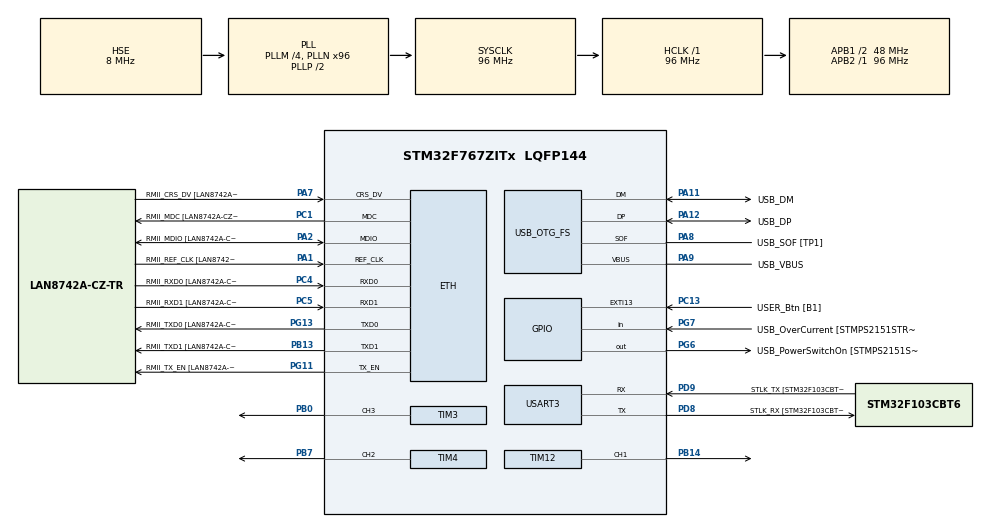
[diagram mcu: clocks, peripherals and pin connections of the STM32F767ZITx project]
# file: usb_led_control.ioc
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ETH.MediaInterface=HAL_ETH_RMII_MODE
ETH.PHY_Name=LAN8742A_PHY_ADDRESS
ETH.PHY_Value=0
ETH.PhyAddress=0
FREERTOS.Queues01=commandQueue,16,32,1,Dynamic,NULL,NULL
FREERTOS.Tasks01=defaultTask,24,128,StartDefaultTask,Default,NULL,Dynamic,NULL,NULL;commandReader,8,128,commandReaderEntry,Default,NULL,Dynamic,NULL,NULL
FREERTOS.Timers01=ledBlinkTimer,ledBlinkTimerEntry,osTimerPeriodic,Default,NULL,Dynamic,NULL
FREERTOS.configUSE_NEWLIB_REENTRANT=1
Mcu.Family=STM32F7
Mcu.Name=STM32F767ZITx
Mcu.Package=LQFP144
NVIC.OTG_FS_IRQn=true\:5\:0\:false\:false\:true\:true\:false\:true\:true
NVIC.PriorityGroup=NVIC_PRIORITYGROUP_4
NVIC.TIM6_DAC_IRQn=true\:15\:0\:false\:false\:true\:false\:false\:true\:true
NVIC.TimeBase=TIM6_DAC_IRQn
NVIC.TimeBaseIP=TIM6
PA1.GPIO_Label=RMII_REF_CLK [LAN8742A-CZ-TR_REFCLK0]
PA1.Mode=RMII
PA1.Signal=ETH_REF_CLK
PA10.GPIO_Label=USB_ID
PA10.Signal=USB_OTG_FS_ID
PA11.GPIO_Label=USB_DM
PA11.Mode=Device_Only
PA11.Signal=USB_OTG_FS_DM
PA12.GPIO_Label=USB_DP
PA12.Mode=Device_Only
PA12.Signal=USB_OTG_FS_DP
PA13.GPIO_Label=TMS
PA13.Mode=Serial_Wire
PA13.Signal=SYS_JTMS-SWDIO
PA14.GPIO_Label=TCK
PA14.Mode=Serial_Wire
PA14.Signal=SYS_JTCK-SWCLK
PA2.GPIO_Label=RMII_MDIO [LAN8742A-CZ-TR_MDIO]
PA2.Mode=RMII
PA2.Signal=ETH_MDIO
PA7.GPIO_Label=RMII_CRS_DV [LAN8742A-CZ-TR_CRS_DV]
PA7.Mode=RMII
PA7.Signal=ETH_CRS_DV
PA8.GPIO_Label=USB_SOF [TP1]
PA8.Mode=Activate_SOF_FS
PA8.Signal=USB_OTG_FS_SOF
PA9.GPIO_Label=USB_VBUS
PA9.Mode=Activate_VBUS
PA9.Signal=USB_OTG_FS_VBUS
PB0.Signal=S_TIM3_CH3
PB13.GPIO_Label=RMII_TXD1 [LAN8742A-CZ-TR_TXD1]
PB13.Mode=RMII
PB13.Signal=ETH_TXD1
PB14.Signal=S_TIM12_CH1
PB3.GPIO_Label=SWO
PB3.Signal=SYS_JTDO-SWO
PB7.Signal=S_TIM4_CH2
PC1.GPIO_Label=RMII_MDC [LAN8742A-CZ-TR_MDC]
PC1.Mode=RMII
PC1.Signal=ETH_MDC
PC13.GPIO_Label=USER_Btn [B1]
PC13.Signal=GPXTI13
PC14/OSC32_IN.Mode=LSE-External-Oscillator
PC14/OSC32_IN.Signal=RCC_OSC32_IN
PC15/OSC32_OUT.Mode=LSE-External-Oscillator
PC15/OSC32_OUT.Signal=RCC_OSC32_OUT
PC4.GPIO_Label=RMII_RXD0 [LAN8742A-CZ-TR_RXD0]
PC4.Mode=RMII
PC4.Signal=ETH_RXD0
PC5.GPIO_Label=RMII_RXD1 [LAN8742A-CZ-TR_RXD1]
PC5.Mode=RMII
PC5.Signal=ETH_RXD1
PD8.GPIO_Label=STLK_RX [STM32F103CBT6_PA3]
PD8.Mode=Asynchronous
PD8.Signal=USART3_TX
PD9.GPIO_Label=STLK_TX [STM32F103CBT6_PA2]
PD9.Mode=Asynchronous
PD9.Signal=USART3_RX
PG11.GPIO_Label=RMII_TX_EN [LAN8742A-CZ-TR_TXEN]
PG11.Mode=RMII
PG11.Signal=ETH_TX_EN
PG13.GPIO_Label=RMII_TXD0 [LAN8742A-CZ-TR_TXD0]
PG13.Mode=RMII
PG13.Signal=ETH_TXD0
PG6.GPIO_Label=USB_PowerSwitchOn [STMPS2151STR_EN]
PG6.Signal=GPIO_Output
PG7.GPIO_Label=USB_OverCurrent [STMPS2151STR_FAULT]
PG7.Signal=GPIO_Input
PH0/OSC_IN.GPIO_Label=MCO [STM32F103CBT6_PA8]
PH0/OSC_IN.Mode=HSE-External-Clock-Source
PH0/OSC_IN.Signal=RCC_OSC_IN
PH1/OSC_OUT.Mode=HSE-External-Clock-Source
PH1/OSC_OUT.Signal=RCC_OSC_OUT
ProjectManager.HeapSize=0x200
ProjectManager.StackSize=0x400
ProjectManager.TargetToolchain=STM32CubeIDE
RCC.48MHZClocksFreq_Value=24000000
RCC.AHBFreq_Value=96000000
RCC.APB1CLKDivider=RCC_HCLK_DIV2
RCC.APB1Freq_Value=48000000
RCC.APB1TimFreq_Value=96000000
RCC.APB2Freq_Value=96000000
RCC.APB2TimFreq_Value=96000000
RCC.CortexFreq_Value=96000000
RCC.HCLKFreq_Value=96000000
RCC.HSE_VALUE=8000000
RCC.HSI_VALUE=16000000
RCC.PLLM=4
RCC.PLLMUL=RCC_PLL_MUL9
RCC.PLLN=96
RCC.PLLQ=4
RCC.PRESCALERUSB=RCC_USBCLKSOURCE_PLL_DIV1_5
RCC.SYSCLKFreq_VALUE=96000000
RCC.SYSCLKSource=RCC_SYSCLKSOURCE_PLLCLK
RCC.SYSCLKSourceVirtual=RCC_SYSCLKSOURCE_PLLCLK
RCC.USBFreq_Value=48000000
RCC.VCOOutputFreq_Value=192000000
SH.S_TIM12_CH1.0=TIM12_CH1,PWM Generation1 CH1
SH.S_TIM3_CH3.0=TIM3_CH3,PWM Generation3 CH3
SH.S_TIM4_CH2.0=TIM4_CH2,PWM Generation2 CH2
TIM12.AutoReloadPreload=TIM_AUTORELOAD_PRELOAD_ENABLE
TIM12.Channel-PWM\ Generation1\ CH1=TIM_CHANNEL_1
TIM3.AutoReloadPreload=TIM_AUTORELOAD_PRELOAD_ENABLE
TIM3.Channel-PWM\ Generation3\ CH3=TIM_CHANNEL_3
TIM4.AutoReloadPreload=TIM_AUTORELOAD_PRELOAD_ENABLE
TIM4.Channel-PWM\ Generation2\ CH2=TIM_CHANNEL_2
USART3.VirtualMode-Asynchronous=VM_ASYNC
USB_DEVICE.CLASS_NAME_FS=CDC
USB_DEVICE.VirtualMode-CDC_FS=Cdc
USB_DEVICE.VirtualModeFS=Cdc_FS
USB_OTG_FS.VirtualMode=Device_Only
VP_CRC_VS_CRC.Mode=CRC_Activate
VP_FREERTOS_VS_CMSIS_V2.Mode=CMSIS_V2
VP_SYS_VS_tim6.Mode=TIM6
VP_TIM12_VS_ClockSourceINT.Mode=Internal
VP_TIM3_VS_ClockSourceINT.Mode=Internal
VP_TIM4_VS_ClockSourceINT.Mode=Internal
VP_USB_DEVICE_VS_USB_DEVICE_CDC_FS.Mode=CDC_FS
board=NUCLEO-F767ZI

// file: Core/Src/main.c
/* USER CODE BEGIN Header */
/**
  ******************************************************************************
  * @file           : main.c
  * @brief          : Main program body
  ******************************************************************************
  * @attention
  *
  * Copyright (c) 2023 STMicroelectronics.
  * All rights reserved.
  *
  * This software is licensed under terms that can be found in the LICENSE file
  * in the root directory of this software component.
  * If no LICENSE file comes with this software, it is provided AS-IS.
  *
  ******************************************************************************
  */
/* USER CODE END Header */
#include "main.h"
#include "string.h"
#include "cmsis_os.h"
#include "usb_device.h"

/* USER CODE BEGIN Includes */
#include <SEGGER_SYSVIEW.h>
#include "usbd_cdc_if.h"
#include <queue.h>
#include <timers.h>
#include <Freertos.h>
#include "CRC32.h"
/* USER CODE END Includes */

/* USER CODE BEGIN PTD */
struct
{
	uint8_t first[32];

}LedCmd;
/* USER CODE END PTD */

#if defined ( __ICCARM__ ) /*!< IAR Compiler */
#pragma location=0x2007c000
ETH_DMADescTypeDef  DMARxDscrTab[ETH_RX_DESC_CNT]; /* Ethernet Rx DMA Descriptors */
#pragma location=0x2007c0a0
ETH_DMADescTypeDef  DMATxDscrTab[ETH_TX_DESC_CNT]; /* Ethernet Tx DMA Descriptors */

#elif defined ( __CC_ARM )  /* MDK ARM Compiler */

__attribute__((at(0x2007c000))) ETH_DMADescTypeDef  DMARxDscrTab[ETH_RX_DESC_CNT]; /* Ethernet Rx DMA Descriptors */
__attribute__((at(0x2007c0a0))) ETH_DMADescTypeDef  DMATxDscrTab[ETH_TX_DESC_CNT]; /* Ethernet Tx DMA Descriptors */

#elif defined ( __GNUC__ ) /* GNU Compiler */
ETH_DMADescTypeDef DMARxDscrTab[ETH_RX_DESC_CNT] __attribute__((section(".RxDecripSection"))); /* Ethernet Rx DMA Descriptors */
ETH_DMADescTypeDef DMATxDscrTab[ETH_TX_DESC_CNT] __attribute__((section(".TxDecripSection")));   /* Ethernet Tx DMA Descriptors */

#endif

ETH_TxPacketConfig TxConfig;

CRC_HandleTypeDef hcrc;

ETH_HandleTypeDef heth;

TIM_HandleTypeDef htim3;
TIM_HandleTypeDef htim4;
TIM_HandleTypeDef htim12;

UART_HandleTypeDef huart3;

/* Definitions for defaultTask */
osThreadId_t defaultTaskHandle;
const osThreadAttr_t defaultTask_attributes = {
  .name = "defaultTask",
  .stack_size = 128 * 4,
  .priority = (osPriority_t) osPriorityNormal,
};
/* Definitions for commandReader */
osThreadId_t commandReaderHandle;
const osThreadAttr_t commandReader_attributes = {
  .name = "commandReader",
  .stack_size = 128 * 4,
  .priority = (osPriority_t) osPriorityLow,
};
/* Definitions for commandQueue */
osMessageQueueId_t commandQueueHandle;
const osMessageQueueAttr_t commandQueue_attributes = {
  .name = "commandQueue"
};
/* Definitions for ledBlinkTimer */
osTimerId_t ledBlinkTimerHandle;
const osTimerAttr_t ledBlinkTimer_attributes = {
  .name = "ledBlinkTimer"
};

void SystemClock_Config(void);
static void MX_GPIO_Init(void);
static void MX_ETH_Init(void);
static void MX_USART3_UART_Init(void);
static void MX_TIM4_Init(void);
static void MX_TIM12_Init(void);
static void MX_TIM3_Init(void);
static void MX_CRC_Init(void);
void StartDefaultTask(void *argument);
void commandReaderEntry(void *argument);
void ledBlinkTimerEntry(void *argument);

int main(void)
{

  /* MCU Configuration--------------------------------------------------------*/

  /* Reset of all peripherals, Initializes the Flash interface and the Systick. */
  HAL_Init();

  /* USER CODE BEGIN Init */
  SEGGER_SYSVIEW_Conf();
  /* USER CODE END Init */

  /* Configure the system clock */
  SystemClock_Config();

  /* Initialize all configured peripherals */
  MX_GPIO_Init();
  MX_ETH_Init();
  MX_USART3_UART_Init();
  MX_TIM4_Init();
  MX_TIM12_Init();
  MX_TIM3_Init();
  MX_CRC_Init();
  /* USER CODE BEGIN 2 */
  HAL_TIM_PWM_Start(&htim4, TIM_CHANNEL_2);
  HAL_TIM_PWM_Start(&htim12, TIM_CHANNEL_1);
  HAL_TIM_PWM_Start(&htim3, TIM_CHANNEL_3);
  /* USER CODE END 2 */

  /* Init scheduler */
  osKernelInitialize();

  /* Create the timer(s) */
  /* creation of ledBlinkTimer */
  ledBlinkTimerHandle = osTimerNew(ledBlinkTimerEntry, osTimerPeriodic, NULL, &ledBlinkTimer_attributes);

  /* Create the queue(s) */
  /* creation of commandQueue */
  commandQueueHandle = osMessageQueueNew (16, 32, &commandQueue_attributes);

  /* Create the thread(s) */
  /* creation of defaultTask */
  defaultTaskHandle = osThreadNew(StartDefaultTask, NULL, &defaultTask_attributes);

  /* creation of commandReader */
  commandReaderHandle = osThreadNew(commandReaderEntry, NULL, &commandReader_attributes);

  /* Start scheduler */
  osKernelStart();

  /* We should never get here as control is now taken by the scheduler */
  /* Infinite loop */
  while (1)
  {

  }
}

void SystemClock_Config(void)
{
  RCC_OscInitTypeDef RCC_OscInitStruct = {0};
  RCC_ClkInitTypeDef RCC_ClkInitStruct = {0};

  /** Configure LSE Drive Capability
  */
  HAL_PWR_EnableBkUpAccess();

  /** Configure the main internal regulator output voltage
  */
  __HAL_RCC_PWR_CLK_ENABLE();
  __HAL_PWR_VOLTAGESCALING_CONFIG(PWR_REGULATOR_VOLTAGE_SCALE3);

  /** Initializes the RCC Oscillators according to the specified parameters
  * in the RCC_OscInitTypeDef structure.
  */
  RCC_OscInitStruct.OscillatorType = RCC_OSCILLATORTYPE_HSE;
  RCC_OscInitStruct.HSEState = RCC_HSE_BYPASS;
  RCC_OscInitStruct.PLL.PLLState = RCC_PLL_ON;
  RCC_OscInitStruct.PLL.PLLSource = RCC_PLLSOURCE_HSE;
  RCC_OscInitStruct.PLL.PLLM = 4;
  RCC_OscInitStruct.PLL.PLLN = 96;
  RCC_OscInitStruct.PLL.PLLP = RCC_PLLP_DIV2;
  RCC_OscInitStruct.PLL.PLLQ = 4;
  RCC_OscInitStruct.PLL.PLLR = 2;
  if (HAL_RCC_OscConfig(&RCC_OscInitStruct) != HAL_OK)
  {
    Error_Handler();
  }

  /** Activate the Over-Drive mode
  */
  if (HAL_PWREx_EnableOverDrive() != HAL_OK)
  {
    Error_Handler();
  }

  /** Initializes the CPU, AHB and APB buses clocks
  */
  RCC_ClkInitStruct.ClockType = RCC_CLOCKTYPE_HCLK|RCC_CLOCKTYPE_SYSCLK
                              |RCC_CLOCKTYPE_PCLK1|RCC_CLOCKTYPE_PCLK2;
  RCC_ClkInitStruct.SYSCLKSource = RCC_SYSCLKSOURCE_PLLCLK;
  RCC_ClkInitStruct.AHBCLKDivider = RCC_SYSCLK_DIV1;
  RCC_ClkInitStruct.APB1CLKDivider = RCC_HCLK_DIV2;
  RCC_ClkInitStruct.APB2CLKDivider = RCC_HCLK_DIV1;

  if (HAL_RCC_ClockConfig(&RCC_ClkInitStruct, FLASH_LATENCY_3) != HAL_OK)
  {
    Error_Handler();
  }
}

static void MX_CRC_Init(void)
{

  hcrc.Instance = CRC;
  hcrc.Init.DefaultPolynomialUse = DEFAULT_POLYNOMIAL_ENABLE;
  hcrc.Init.DefaultInitValueUse = DEFAULT_INIT_VALUE_ENABLE;
  hcrc.Init.InputDataInversionMode = CRC_INPUTDATA_INVERSION_NONE;
  hcrc.Init.OutputDataInversionMode = CRC_OUTPUTDATA_INVERSION_DISABLE;
  hcrc.InputDataFormat = CRC_INPUTDATA_FORMAT_BYTES;
  if (HAL_CRC_Init(&hcrc) != HAL_OK)
  {
    Error_Handler();
  }

}

static void MX_ETH_Init(void)
{

   static uint8_t MACAddr[6];

  heth.Instance = ETH;
  MACAddr[0] = 0x00;
  MACAddr[1] = 0x80;
  MACAddr[2] = 0xE1;
  MACAddr[3] = 0x00;
  MACAddr[4] = 0x00;
  MACAddr[5] = 0x00;
  heth.Init.MACAddr = &MACAddr[0];
  heth.Init.MediaInterface = HAL_ETH_RMII_MODE;
  heth.Init.TxDesc = DMATxDscrTab;
  heth.Init.RxDesc = DMARxDscrTab;
  heth.Init.RxBuffLen = 1524;

  if (HAL_ETH_Init(&heth) != HAL_OK)
  {
    Error_Handler();
  }

  memset(&TxConfig, 0 , sizeof(ETH_TxPacketConfig));
  TxConfig.Attributes = ETH_TX_PACKETS_FEATURES_CSUM | ETH_TX_PACKETS_FEATURES_CRCPAD;
  TxConfig.ChecksumCtrl = ETH_CHECKSUM_IPHDR_PAYLOAD_INSERT_PHDR_CALC;
  TxConfig.CRCPadCtrl = ETH_CRC_PAD_INSERT;

}

static void MX_TIM3_Init(void)
{

  TIM_ClockConfigTypeDef sClockSourceConfig = {0};
  TIM_MasterConfigTypeDef sMasterConfig = {0};
  TIM_OC_InitTypeDef sConfigOC = {0};

  htim3.Instance = TIM3;
  htim3.Init.Prescaler = 0;
  htim3.Init.CounterMode = TIM_COUNTERMODE_UP;
  htim3.Init.Period = 65535;
  htim3.Init.ClockDivision = TIM_CLOCKDIVISION_DIV1;
  htim3.Init.AutoReloadPreload = TIM_AUTORELOAD_PRELOAD_ENABLE;
  if (HAL_TIM_Base_Init(&htim3) != HAL_OK)
  {
    Error_Handler();
  }
  sClockSourceConfig.ClockSource = TIM_CLOCKSOURCE_INTERNAL;
  if (HAL_TIM_ConfigClockSource(&htim3, &sClockSourceConfig) != HAL_OK)
  {
    Error_Handler();
  }
  if (HAL_TIM_PWM_Init(&htim3) != HAL_OK)
  {
    Error_Handler();
  }
  sMasterConfig.MasterOutputTrigger = TIM_TRGO_RESET;
  sMasterConfig.MasterSlaveMode = TIM_MASTERSLAVEMODE_DISABLE;
  if (HAL_TIMEx_MasterConfigSynchronization(&htim3, &sMasterConfig) != HAL_OK)
  {
    Error_Handler();
  }
  sConfigOC.OCMode = TIM_OCMODE_PWM1;
  sConfigOC.Pulse = 0;
  sConfigOC.OCPolarity = TIM_OCPOLARITY_HIGH;
  sConfigOC.OCFastMode = TIM_OCFAST_DISABLE;
  if (HAL_TIM_PWM_ConfigChannel(&htim3, &sConfigOC, TIM_CHANNEL_3) != HAL_OK)
  {
    Error_Handler();
  }
  HAL_TIM_MspPostInit(&htim3);

}

static void MX_TIM4_Init(void)
{

  TIM_ClockConfigTypeDef sClockSourceConfig = {0};
  TIM_MasterConfigTypeDef sMasterConfig = {0};
  TIM_OC_InitTypeDef sConfigOC = {0};

  htim4.Instance = TIM4;
  htim4.Init.Prescaler = 0;
  htim4.Init.CounterMode = TIM_COUNTERMODE_UP;
  htim4.Init.Period = 65535;
  htim4.Init.ClockDivision = TIM_CLOCKDIVISION_DIV1;
  htim4.Init.AutoReloadPreload = TIM_AUTORELOAD_PRELOAD_ENABLE;
  if (HAL_TIM_Base_Init(&htim4) != HAL_OK)
  {
    Error_Handler();
  }
  sClockSourceConfig.ClockSource = TIM_CLOCKSOURCE_INTERNAL;
  if (HAL_TIM_ConfigClockSource(&htim4, &sClockSourceConfig) != HAL_OK)
  {
    Error_Handler();
  }
  if (HAL_TIM_PWM_Init(&htim4) != HAL_OK)
  {
    Error_Handler();
  }
  sMasterConfig.MasterOutputTrigger = TIM_TRGO_RESET;
  sMasterConfig.MasterSlaveMode = TIM_MASTERSLAVEMODE_DISABLE;
  if (HAL_TIMEx_MasterConfigSynchronization(&htim4, &sMasterConfig) != HAL_OK)
  {
    Error_Handler();
  }
  sConfigOC.OCMode = TIM_OCMODE_PWM1;
  sConfigOC.Pulse = 0;
  sConfigOC.OCPolarity = TIM_OCPOLARITY_HIGH;
  sConfigOC.OCFastMode = TIM_OCFAST_DISABLE;
  if (HAL_TIM_PWM_ConfigChannel(&htim4, &sConfigOC, TIM_CHANNEL_2) != HAL_OK)
  {
    Error_Handler();
  }
  HAL_TIM_MspPostInit(&htim4);

}

static void MX_TIM12_Init(void)
{

  TIM_ClockConfigTypeDef sClockSourceConfig = {0};
  TIM_OC_InitTypeDef sConfigOC = {0};

  htim12.Instance = TIM12;
  htim12.Init.Prescaler = 0;
  htim12.Init.CounterMode = TIM_COUNTERMODE_UP;
  htim12.Init.Period = 65535;
  htim12.Init.ClockDivision = TIM_CLOCKDIVISION_DIV1;
  htim12.Init.AutoReloadPreload = TIM_AUTORELOAD_PRELOAD_ENABLE;
  if (HAL_TIM_Base_Init(&htim12) != HAL_OK)
  {
    Error_Handler();
  }
  sClockSourceConfig.ClockSource = TIM_CLOCKSOURCE_INTERNAL;
  if (HAL_TIM_ConfigClockSource(&htim12, &sClockSourceConfig) != HAL_OK)
  {
    Error_Handler();
  }
  if (HAL_TIM_PWM_Init(&htim12) != HAL_OK)
  {
    Error_Handler();
  }
  sConfigOC.OCMode = TIM_OCMODE_PWM1;
  sConfigOC.Pulse = 0;
  sConfigOC.OCPolarity = TIM_OCPOLARITY_HIGH;
  sConfigOC.OCFastMode = TIM_OCFAST_DISABLE;
  if (HAL_TIM_PWM_ConfigChannel(&htim12, &sConfigOC, TIM_CHANNEL_1) != HAL_OK)
  {
    Error_Handler();
  }
  HAL_TIM_MspPostInit(&htim12);

}

static void MX_USART3_UART_Init(void)
{

  huart3.Instance = USART3;
  huart3.Init.BaudRate = 115200;
  huart3.Init.WordLength = UART_WORDLENGTH_8B;
  huart3.Init.StopBits = UART_STOPBITS_1;
  huart3.Init.Parity = UART_PARITY_NONE;
  huart3.Init.Mode = UART_MODE_TX_RX;
  huart3.Init.HwFlowCtl = UART_HWCONTROL_NONE;
  huart3.Init.OverSampling = UART_OVERSAMPLING_16;
  huart3.Init.OneBitSampling = UART_ONE_BIT_SAMPLE_DISABLE;
  huart3.AdvancedInit.AdvFeatureInit = UART_ADVFEATURE_NO_INIT;
  if (HAL_UART_Init(&huart3) != HAL_OK)
  {
    Error_Handler();
  }

}

static void MX_GPIO_Init(void)
{
  GPIO_InitTypeDef GPIO_InitStruct = {0};

  /* GPIO Ports Clock Enable */
  __HAL_RCC_GPIOC_CLK_ENABLE();
  __HAL_RCC_GPIOH_CLK_ENABLE();
  __HAL_RCC_GPIOA_CLK_ENABLE();
  __HAL_RCC_GPIOB_CLK_ENABLE();
  __HAL_RCC_GPIOD_CLK_ENABLE();
  __HAL_RCC_GPIOG_CLK_ENABLE();

  /*Configure GPIO pin Output Level */
  HAL_GPIO_WritePin(USB_PowerSwitchOn_GPIO_Port, USB_PowerSwitchOn_Pin, GPIO_PIN_RESET);

  /*Configure GPIO pin : USER_Btn_Pin */
  GPIO_InitStruct.Pin = USER_Btn_Pin;
  GPIO_InitStruct.Mode = GPIO_MODE_IT_RISING;
  GPIO_InitStruct.Pull = GPIO_NOPULL;
  HAL_GPIO_Init(USER_Btn_GPIO_Port, &GPIO_InitStruct);

  /*Configure GPIO pin : USB_PowerSwitchOn_Pin */
  GPIO_InitStruct.Pin = USB_PowerSwitchOn_Pin;
  GPIO_InitStruct.Mode = GPIO_MODE_OUTPUT_PP;
  GPIO_InitStruct.Pull = GPIO_NOPULL;
  GPIO_InitStruct.Speed = GPIO_SPEED_FREQ_LOW;
  HAL_GPIO_Init(USB_PowerSwitchOn_GPIO_Port, &GPIO_InitStruct);

  /*Configure GPIO pin : USB_OverCurrent_Pin */
  GPIO_InitStruct.Pin = USB_OverCurrent_Pin;
  GPIO_InitStruct.Mode = GPIO_MODE_INPUT;
  GPIO_InitStruct.Pull = GPIO_NOPULL;
  HAL_GPIO_Init(USB_OverCurrent_GPIO_Port, &GPIO_InitStruct);

}

/* USER CODE BEGIN 4 */
bool ledblink = 0;
int32_t TIM12_CH1_RED = 0;
int32_t TIM3_CH3_GREEN = 0;
int32_t TIM4_CH2_BLUE = 0;
/* USER CODE END 4 */

void StartDefaultTask(void *argument)
{
  /* init code for USB_DEVICE */
  MX_USB_DEVICE_Init();
  while(1)
    osDelay(1);
}

void commandReaderEntry(void *argument)
{
  /* USER CODE BEGIN commandReaderEntry */
  /* Infinite loop */
  bool crccheck;

  for(;;)
  {
    osDelay(1);
    uint8_t command[32];
    if (xQueueReceive(commandQueueHandle, &command, 100) == pdPASS){
    	//SEGGER_SYSVIEW_PrintfHost((uint8_t*)command);
    	//SEGGER_SYSVIEW_PrintfHost((void*)command);
    	//SEGGER_SYSVIEW_PrintfHost("%c \n", (void*)command);
    	//SEGGER_SYSVIEW_PrintfHost("%d \n", *command);
    	//SEGGER_SYSVIEW_PrintfHost("%d \n", command[1]);
    	//SEGGER_SYSVIEW_PrintfHost("%p \n", (void*)command);
    	//SEGGER_SYSVIEW_PrintfHost("%u \n", (void*)command);
    	//SEGGER_SYSVIEW_PrintfHost("%x \n", (void*)command);

    	SEGGER_SYSVIEW_PrintfHost("begin:");
    	for(int i=0; i < 10; i++){
    		SEGGER_SYSVIEW_PrintfHost("%d \n", command[i]);
    	}
    	SEGGER_SYSVIEW_PrintfHost("end");
    	crccheck = CheckCRC(command, 9);

    	SEGGER_SYSVIEW_PrintfHost("crc pass? %d \n", crccheck);

    	if(command[1] == 3){
    		SEGGER_SYSVIEW_PrintfHost("blinker %d \n", command[1]);
    		osTimerStart(ledBlinkTimerHandle, 500 / portTICK_PERIOD_MS);
    	}

    	else{
    		SEGGER_SYSVIEW_PrintfHost("no blinker %d \n", command[1]);
    		osTimerStop(ledBlinkTimerHandle);
    	}

    	TIM12_CH1_RED = (command[2] * 256);
    	TIM12->CCR1 = TIM12_CH1_RED;

    	TIM3_CH3_GREEN = (command[3] * 256);
    	TIM3->CCR3 = TIM3_CH3_GREEN;

    	TIM4_CH2_BLUE = (command[4] * 256);
    	TIM4->CCR2 = TIM4_CH2_BLUE;

    }

  }
  /* USER CODE END commandReaderEntry */
}

/* ledBlinkTimerEntry function */
void ledBlinkTimerEntry(void *argument)
{
  /* USER CODE BEGIN ledBlinkTimerEntry */

  ledblink = !ledblink;
  if(ledblink){
	  TIM12->CCR1 = TIM12_CH1_RED;
	  TIM3->CCR3 = TIM3_CH3_GREEN;
	  TIM4->CCR2 = TIM4_CH2_BLUE;
  }
  else{
	  TIM12->CCR1 = 0;
	  TIM3->CCR3 = 0;
	  TIM4->CCR2 = 0;
  }

  SEGGER_SYSVIEW_PrintfHost("%d \n", ledblink);
  /* USER CODE END ledBlinkTimerEntry */
}

void HAL_TIM_PeriodElapsedCallback(TIM_HandleTypeDef *htim)
{
  if (htim->Instance == TIM6) {
    HAL_IncTick();
  }
}

void Error_Handler(void)
{
  __disable_irq();
  while (1)
  {
  }
}
